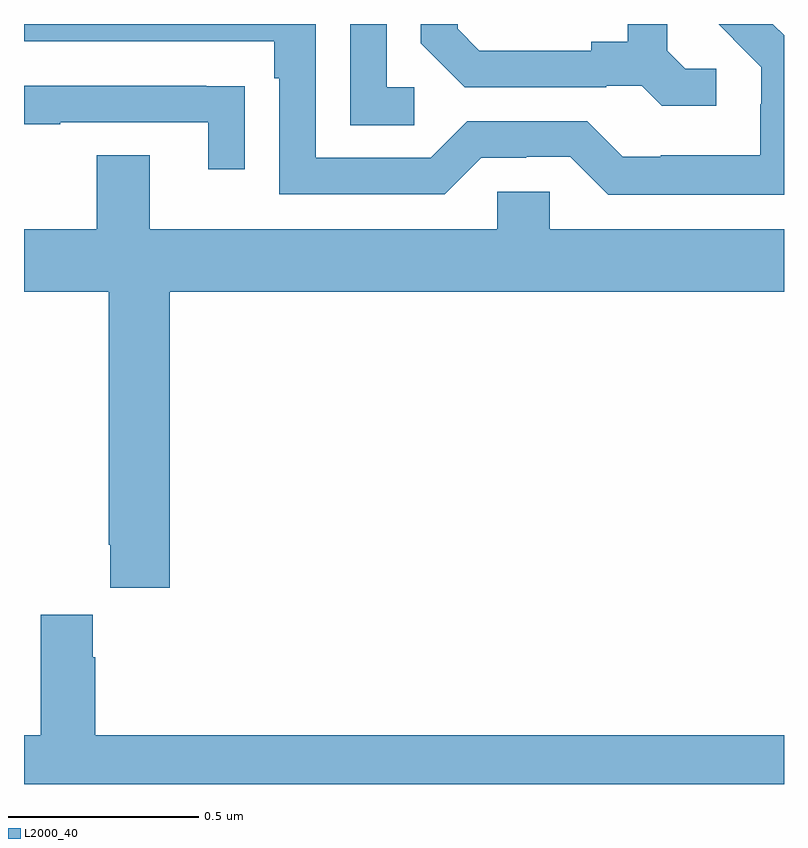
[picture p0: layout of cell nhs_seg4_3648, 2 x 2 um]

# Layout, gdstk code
import gdstk
lib = gdstk.Library(unit=1e-6, precision=1e-09)
def P(c, l, *ps):  # polygons
    for p in ps: c.add(gdstk.Polygon(p, *l))
L2000_40 = (2000, 40)

nhs_seg4_3648 = lib.new_cell('nhs_seg4_3648')
P(nhs_seg4_3648, L2000_40, [(157.822,754.782),(157.74,754.782),(157.693,754.829),(157.693,754.9),(157.589,754.9),(157.589,754.853),(157.493,754.853),(157.493,754.83),(157.198,754.83),(157.141,754.887),(157.141,754.9),(157.044,754.9),(157.044,754.85),(157.16,754.734),(157.532,754.734),(157.532,754.737),(157.626,754.737),(157.678,754.685),(157.822,754.685)],
  [(158,754.87),(157.97,754.9),(157.828,754.9),(157.867,754.861),(157.866,754.86),(157.94,754.786),(157.94,754.689),(157.938,754.689),(157.938,754.555),(157.675,754.555),(157.675,754.551),(157.575,754.551),(157.482,754.644),(157.167,754.644),(157.071,754.548),(156.768,754.548),(156.768,754.9),(156,754.9),(156,754.854),(156.659,754.854),(156.659,754.757),(156.672,754.757),(156.672,754.452),(157.107,754.452),(157.203,754.548),(157.322,754.548),(157.322,754.551),(157.437,754.551),(157.537,754.451),(158,754.451)],
  [(157.027,754.734),(156.954,754.734),(156.954,754.9),(156.858,754.9),(156.858,754.633),(157.027,754.633)],
  [(156.581,754.736),(156.479,754.736),(156.479,754.737),(156,754.737),(156,754.636),(156.095,754.636),(156.095,754.641),(156.485,754.641),(156.485,754.518),(156.581,754.518)],
  [(156.383,754.196),(158,754.196),(158,754.36),(157.383,754.36),(157.383,754.458),(157.245,754.458),(157.245,754.36),(156.331,754.36),(156.331,754.555),(156.191,754.555),(156.191,754.36),(156,754.36),(156,754.196),(156.223,754.196),(156.223,753.529),(156.227,753.529),(156.227,753.417),(156.383,753.417)],
  [(158,753.028),(156.188,753.028),(156.188,753.233),(156.181,753.233),(156.181,753.346),(156.044,753.346),(156.044,753.028),(156,753.028),(156,752.9),(158,752.9)])

lib.write_gds('nhs_seg4_3648.gds')
